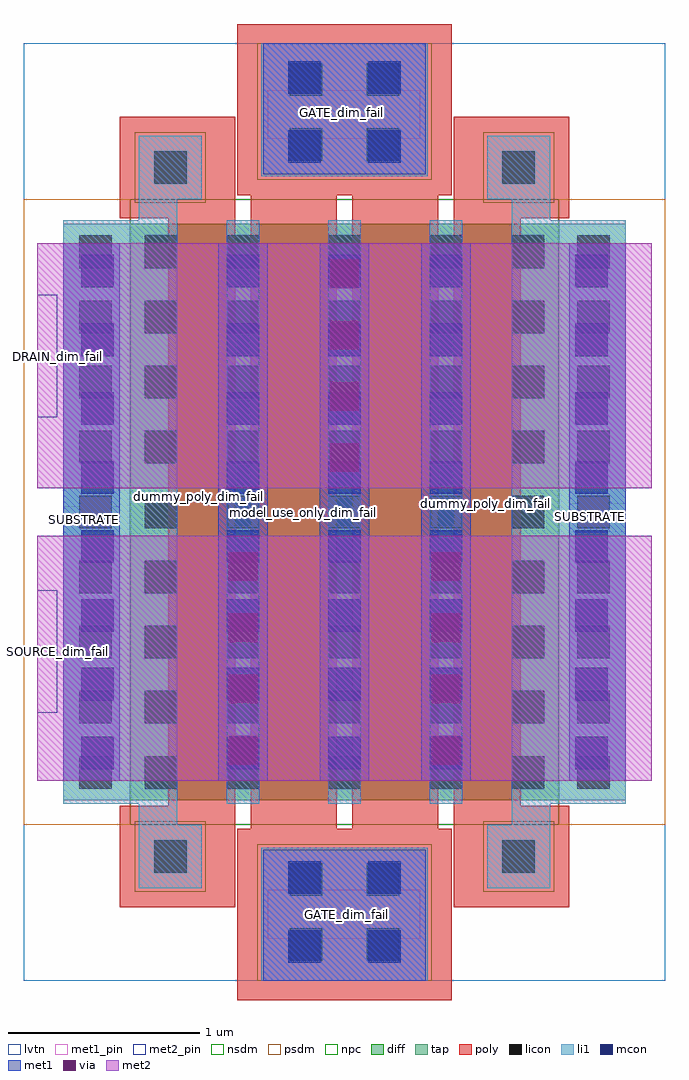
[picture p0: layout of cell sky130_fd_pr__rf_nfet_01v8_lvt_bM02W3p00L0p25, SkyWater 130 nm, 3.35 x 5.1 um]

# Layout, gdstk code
import gdstk
lib = gdstk.Library(unit=1e-6, precision=1e-09)
def R(c, l, rs):  # rectangles x0, y0, x1, y1
    for r in rs: c.add(gdstk.rectangle(r[:2], r[2:], *l))
def A(c, l, x, y, w, h, nx, ny, dx, dy):  # array of equal rectangles
    R(c, l, [(x+i*dx, y+j*dy, x+i*dx+w, y+j*dy+h) for i in range(nx) for j in range(ny)])
def P(c, l, *ps):  # polygons
    for p in ps: c.add(gdstk.Polygon(p, *l))
diff = (65, 20)
tap = (65, 44)
poly = (66, 20)
licon = (66, 44)
li1 = (67, 20)
mcon = (67, 44)
met1_pin = (68, 16)
met1 = (68, 20)
via = (68, 44)
met2_pin = (69, 16)
met2 = (69, 20)
nsdm = (93, 44)
psdm = (94, 20)
npc = (95, 20)
lvtn = (125, 44)

sky130_fd_pr__rf_nfet_01 = lib.new_cell('sky130_fd_pr__rf_nfet_01v8_lvt_bM02W3p00L0p25')
R(sky130_fd_pr__rf_nfet_01, diff, [(0.555,0.945,2.795,3.955)])
R(sky130_fd_pr__rf_nfet_01, tap, [(0.205,0.945,0.555,3.955), (2.795,0.945,3.145,3.955)])
P(sky130_fd_pr__rf_nfet_01, poly, [(0.5,0.385),(0.5,0.915),(0.755,0.915),(0.755,3.985),(0.5,3.985),(0.5,4.515),(1.105,4.515),(1.105,0.385)],
  [(2.245,0.385),(2.245,4.515),(2.85,4.515),(2.85,3.985),(2.595,3.985),(2.595,0.915),(2.85,0.915),(2.85,0.385)],
  [(1.115,-0.1),(1.115,0.795),(1.185,0.795),(1.185,4.105),(1.635,4.105),(1.635,0.795),(1.715,0.795),(1.715,4.105),(1.115,4.105),(1.115,5),(2.235,5),(2.235,4.105),(2.165,4.105),(2.165,0.795),(2.235,0.795),(2.235,-0.1)])
A(sky130_fd_pr__rf_nfet_01, licon, 0.29, 1.005, 0.17, 0.17, 1, 9, 0, 0.34)
A(sky130_fd_pr__rf_nfet_01, licon, 0.63, 1.005, 0.17, 0.17, 1, 9, 0, 0.34)
A(sky130_fd_pr__rf_nfet_01, licon, 1.06, 1.005, 0.17, 0.17, 3, 9, 0.53, 0.34)
A(sky130_fd_pr__rf_nfet_01, licon, 2.55, 1.005, 0.17, 0.17, 1, 9, 0, 0.34)
A(sky130_fd_pr__rf_nfet_01, licon, 2.89, 1.005, 0.17, 0.17, 1, 9, 0, 0.34)
R(sky130_fd_pr__rf_nfet_01, licon, [(1.39,0.105,1.56,0.275), (1.79,0.105,1.96,0.275), (1.39,0.445,1.56,0.615), (1.79,0.445,1.96,0.615), (0.68,0.565,0.85,0.735), (2.5,0.565,2.67,0.735), (0.68,4.165,0.85,4.335), (2.5,4.165,2.67,4.335), (1.39,4.285,1.56,4.455), (1.79,4.285,1.96,4.455), (1.39,4.625,1.56,4.795), (1.79,4.625,1.96,4.795)])
A(sky130_fd_pr__rf_nfet_01, li1, 1.06, 0.925, 0.17, 3.05, 3, 1, 0.53, 0)
R(sky130_fd_pr__rf_nfet_01, li1, [(1.24,0,2.11,0.695), (0.6,0.485,0.93,0.815), (2.42,0.485,2.75,0.815), (0.6,0.815,0.8,0.925), (2.55,0.815,2.75,0.925), (0.205,0.925,0.8,3.975), (2.55,0.925,3.145,3.975), (0.6,3.975,0.8,4.085), (2.55,3.975,2.75,4.085), (0.6,4.085,0.93,4.415), (2.42,4.085,2.75,4.415), (1.24,4.205,2.11,4.9)])
A(sky130_fd_pr__rf_nfet_01, mcon, 0.3, 1.105, 0.17, 0.17, 1, 8, 0, 0.36)
A(sky130_fd_pr__rf_nfet_01, mcon, 1.06, 1.105, 0.17, 0.17, 3, 8, 0.53, 0.36)
A(sky130_fd_pr__rf_nfet_01, mcon, 2.88, 1.105, 0.17, 0.17, 1, 8, 0, 0.36)
R(sky130_fd_pr__rf_nfet_01, mcon, [(1.38,0.095,1.55,0.265), (1.8,0.095,1.97,0.265), (1.38,0.455,1.55,0.625), (1.8,0.455,1.97,0.625), (1.38,4.275,1.55,4.445), (1.8,4.275,1.97,4.445), (1.38,4.635,1.55,4.805), (1.8,4.635,1.97,4.805)])
R(sky130_fd_pr__rf_nfet_01, met1_pin, [(1.275,0.22,2.07,0.475), (0.205,2.33,0.5,2.48), (2.85,2.345,3.145,2.495), (1.275,4.4,2.07,4.655)])
A(sky130_fd_pr__rf_nfet_01, met1, 1.015, 1.045, 0.26, 2.81, 3, 1, 0.53, 0)
R(sky130_fd_pr__rf_nfet_01, met1, [(1.25,0,2.1,0.685), (0.205,1.045,0.5,3.855), (1.015,1.045,1.275,2.325), (2.075,1.045,2.335,2.325), (2.85,1.045,3.145,3.855), (1.545,2.575,1.805,3.855), (1.25,4.215,2.1,4.9)])
A(sky130_fd_pr__rf_nfet_01, via, 1.07, 1.13, 0.15, 0.15, 1, 4, 0, 0.32)
A(sky130_fd_pr__rf_nfet_01, via, 2.13, 1.13, 0.15, 0.15, 1, 4, 0, 0.32)
A(sky130_fd_pr__rf_nfet_01, via, 1.6, 2.66, 0.15, 0.15, 1, 4, 0, 0.32)
R(sky130_fd_pr__rf_nfet_01, met2_pin, [(0.07,1.4,0.175,2.04), (0.07,2.945,0.175,3.585)])
R(sky130_fd_pr__rf_nfet_01, met2, [(0.07,1.045,3.28,2.325), (1.015,1.045,1.275,2.325), (2.075,1.045,2.335,2.325), (0.07,2.575,3.28,3.855), (1.545,2.575,1.805,3.855)])
R(sky130_fd_pr__rf_nfet_01, nsdm, [(0.555,0.815,2.795,4.085)])
R(sky130_fd_pr__rf_nfet_01, psdm, [(0,0.815,0.555,4.085), (2.795,0.815,3.35,4.085)])
R(sky130_fd_pr__rf_nfet_01, npc, [(1.22,0,2.13,0.715), (0.58,0.465,0.95,0.835), (2.4,0.465,2.77,0.835), (0.58,4.065,0.95,4.435), (2.4,4.065,2.77,4.435), (1.22,4.185,2.13,4.9)])
R(sky130_fd_pr__rf_nfet_01, lvtn, [(0,0,3.35,4.9)])
sky130_fd_pr__rf_nfet_01.add(gdstk.Label('dummy_poly_dim_fail', (0.91,2.53), layer=83, texttype=44))
sky130_fd_pr__rf_nfet_01.add(gdstk.Label('dummy_poly_dim_fail', (2.41,2.495), layer=83, texttype=44))
sky130_fd_pr__rf_nfet_01.add(gdstk.Label('GATE_dim_fail', (1.685,0.345), layer=68, texttype=5))
sky130_fd_pr__rf_nfet_01.add(gdstk.Label('GATE_dim_fail', (1.66,4.535), layer=68, texttype=5))
sky130_fd_pr__rf_nfet_01.add(gdstk.Label('SUBSTRATE', (0.315,2.41), layer=68, texttype=16))
sky130_fd_pr__rf_nfet_01.add(gdstk.Label('SUBSTRATE', (2.96,2.425), layer=68, texttype=16))
sky130_fd_pr__rf_nfet_01.add(gdstk.Label('model_use_only_dim_fail', (1.46,2.45), layer=66, texttype=83))
sky130_fd_pr__rf_nfet_01.add(gdstk.Label('model_use_only_dim_fail', (1.89,2.45), layer=66, texttype=83))
sky130_fd_pr__rf_nfet_01.add(gdstk.Label('model_use_only_dim_fail', (0.915,2.45), layer=66, texttype=83))
sky130_fd_pr__rf_nfet_01.add(gdstk.Label('model_use_only_dim_fail', (2.405,2.45), layer=66, texttype=83))
sky130_fd_pr__rf_nfet_01.add(gdstk.Label('SOURCE_dim_fail', (0.175,1.72), layer=69, texttype=5))
sky130_fd_pr__rf_nfet_01.add(gdstk.Label('DRAIN_dim_fail', (0.175,3.265), layer=69, texttype=5))

lib.write_gds('sky130_fd_pr__rf_nfet_01v8_lvt_bM02W3p00L0p25.gds')
